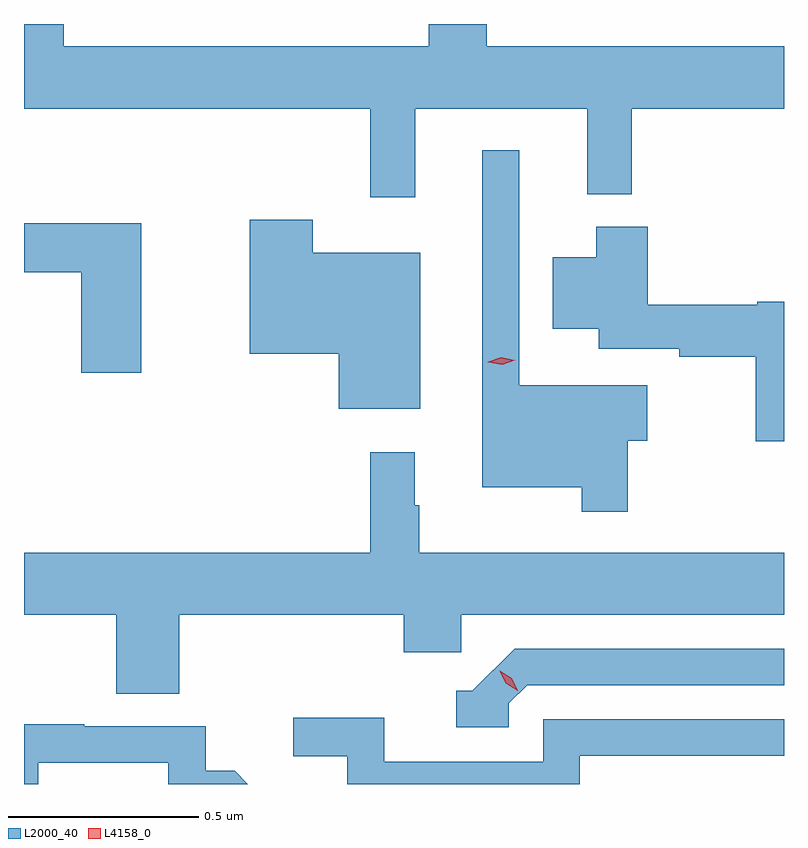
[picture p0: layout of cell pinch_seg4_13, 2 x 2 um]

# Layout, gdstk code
import gdstk
lib = gdstk.Library(unit=1e-6, precision=1e-09)
def P(c, l, *ps):  # polygons
    for p in ps: c.add(gdstk.Polygon(p, *l))
L2000_40 = (2000, 40)
L4158_0 = (4158, 0)

pinch_seg4_13 = lib.new_cell('pinch_seg4_13')
P(pinch_seg4_13, L2000_40, [(1114.607,824.792),(1115.06,824.792),(1115.06,824.567),(1115.177,824.567),(1115.177,824.792),(1115.578,824.792),(1115.578,824.956),(1114.796,824.956),(1114.796,825.015),(1114.643,825.015),(1114.643,824.956),(1113.683,824.956),(1113.683,825.015),(1113.578,825.015),(1113.578,824.792),(1114.489,824.792),(1114.489,824.559),(1114.607,824.559)],
  [(1115.167,823.918),(1115.218,823.918),(1115.218,824.065),(1114.881,824.065),(1114.881,824.683),(1114.784,824.683),(1114.784,823.796),(1115.046,823.796),(1115.046,823.731),(1115.167,823.731)],
  [(1114.621,824.413),(1114.338,824.413),(1114.338,824.5),(1114.172,824.5),(1114.172,824.147),(1114.406,824.147),(1114.406,824.003),(1114.621,824.003)],
  [(1113.886,824.491),(1113.578,824.491),(1113.578,824.362),(1113.728,824.362),(1113.728,824.097),(1113.886,824.097)],
  [(1115.578,824.284),(1115.508,824.284),(1115.508,824.276),(1115.219,824.276),(1115.219,824.482),(1115.084,824.482),(1115.084,824.401),(1114.97,824.401),(1114.97,824.213),(1115.09,824.213),(1115.09,824.16),(1115.302,824.16),(1115.302,824.14),(1115.504,824.14),(1115.504,823.917),(1115.578,823.917)],
  [(1113.986,823.46),(1114.577,823.46),(1114.577,823.362),(1114.728,823.362),(1114.728,823.46),(1115.578,823.46),(1115.578,823.624),(1114.618,823.624),(1114.618,823.748),(1114.606,823.748),(1114.606,823.888),(1114.489,823.888),(1114.489,823.624),(1113.578,823.624),(1113.578,823.46),(1113.821,823.46),(1113.821,823.252),(1113.986,823.252)],
  [(1114.854,823.227),(1114.902,823.275),(1115.578,823.275),(1115.578,823.371),(1114.869,823.371),(1114.758,823.26),(1114.715,823.26),(1114.715,823.164),(1114.854,823.164)],
  [(1115.04,823.089),(1115.578,823.089),(1115.578,823.185),(1114.944,823.185),(1114.944,823.074),(1114.526,823.074),(1114.526,823.19),(1114.287,823.19),(1114.287,823.088),(1114.428,823.088),(1114.428,823.015),(1115.04,823.015)],
  [(1113.615,823.071),(1113.957,823.071),(1113.957,823.015),(1114.167,823.015),(1114.132,823.05),(1114.056,823.05),(1114.056,823.167),(1113.737,823.167),(1113.737,823.172),(1113.578,823.172),(1113.578,823.015),(1113.615,823.015)])
P(pinch_seg4_13, L4158_0, [(1114.836,824.118),(1114.8,824.125),(1114.799,824.125),(1114.8,824.126),(1114.834,824.138),(1114.87,824.13),(1114.871,824.13),(1114.87,824.13)],
  [(1114.877,823.26),(1114.846,823.28),(1114.83,823.313),(1114.83,823.313),(1114.83,823.313),(1114.861,823.293),(1114.877,823.26),(1114.877,823.26)])

lib.write_gds('pinch_seg4_13.gds')
